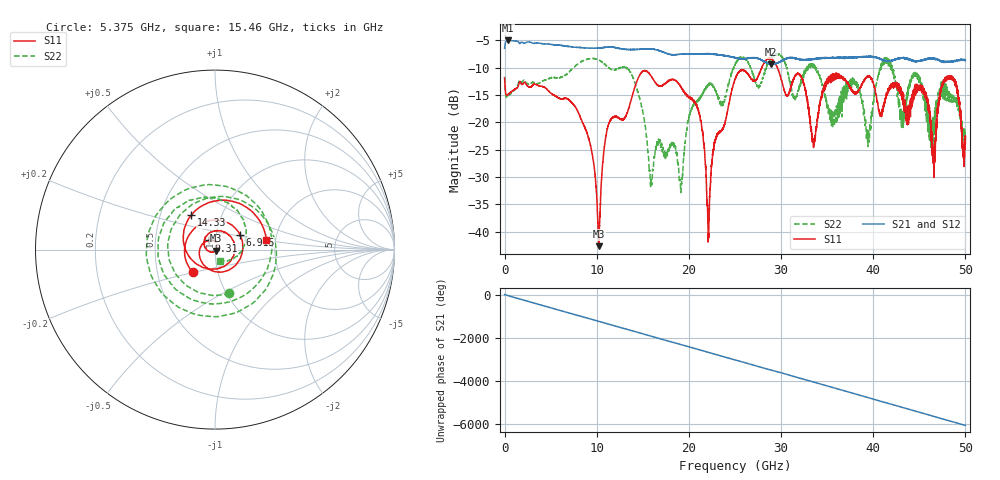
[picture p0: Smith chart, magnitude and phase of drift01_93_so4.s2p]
!Created with skrf (http://scikit-rf.org).
# Hz S RI R 50.0
!freq ReS11 ImS11 ReS21 ImS21 ReS12 ImS12 ReS22 ImS22
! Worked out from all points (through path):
!   10001 points, 300 kHz to 50 GHz, reference 50 ohm
!   highest |S21| = -5.05 dB at 395.3 MHz (marker M1); lowest = -9.4 dB at 28.9 GHz (marker M2)
!   group delay of S21, straight-line fit = 336 ps
!   lowest |S11| = -42.6 dB at 10.23 GHz (marker M3), VSWR 1.01, Z = 50.5 - j0.585 ohm
!   |S11| at or under -10 dB: start of sweep to 27.91 GHz; 29.6 GHz to end of sweep
!   |S22| runs from -32.8 to -7.5 dB; largest |S21 - S12| = 0.014
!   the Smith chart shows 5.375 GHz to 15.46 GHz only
!   S11 on the Smith chart (normalised r, x): 5.375 GHz: 0.76, -0.20; 6.915 GHz: 1.30, +0.22; 9.31 GHz: 0.93, +0.09; 14.33 GHz: 0.72, +0.29; 15.46 GHz: 1.79, +0.21
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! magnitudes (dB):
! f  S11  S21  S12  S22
! 300 kHz  -11.9  -6.5  -6.5  -11.7
! 395.3 MHz  -14.9  -5.1  -5.1  -15.2
! 5.375 GHz  -15.0  -5.9  -5.9  -11.8
! 6.915 GHz  -15.8  -6.2  -6.2  -11.0
! 8.335 GHz  -19.5  -6.4  -6.4  -8.9
! 9.31 GHz  -24.2  -6.5  -6.4  -8.4
! 10.23 GHz  -42.6  -6.4  -6.4  -8.6
! 11.23 GHz  -20.7  -6.3  -6.3  -9.9
! 14.33 GHz  -12.7  -6.7  -6.7  -13.6
! 15.46 GHz  -10.7  -6.6  -6.6  -23.5
! 16.67 GHz  -13.3  -6.9  -6.9  -23.3
! 19.13 GHz  -13.5  -7.6  -7.6  -32.8
! 20.86 GHz  -17.0  -7.6  -7.5  -16.3
! 22.12 GHz  -40.9  -7.5  -7.5  -13.4
! 25 GHz  -12.1  -8.2  -8.2  -9.5
! 28.9 GHz  -8.4  -9.4  -9.4  -8.3
! 33.34 GHz  -22.8  -8.5  -8.4  -9.5
! 39.47 GHz  -11.7  -8.0  -8.0  -22.3
! 41.67 GHz  -13.8  -8.8  -8.7  -8.8
! 46.55 GHz  -27.0  -8.3  -8.3  -20.3
! 48.56 GHz  -12.1  -8.8  -8.8  -15.4
! 50 GHz  -23.8  -8.6  -8.7  -23.0
